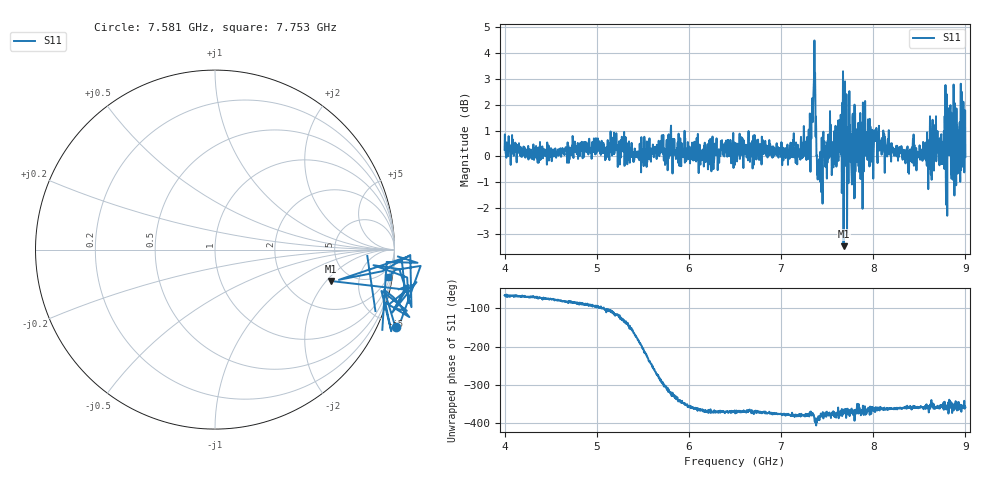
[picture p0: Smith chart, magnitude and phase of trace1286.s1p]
! Created with skrf 1.8.0 (http://scikit-rf.org).
# Hz S RI R 50.0
!freq ReS11 ImS11
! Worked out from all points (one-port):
!   1601 points, 4 GHz to 9 GHz, reference 50 ohm
!   lowest |S11| = -3.5 dB at 7.678 GHz (marker M1), VSWR 5.06, Z = 177 - j113 ohm
!   |S11| at or under -10 dB: nowhere
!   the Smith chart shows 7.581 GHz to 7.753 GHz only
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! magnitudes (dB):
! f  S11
! 4 GHz  0.3
! 4.625 GHz  0.2
! 5.25 GHz  -0.3
! 5.875 GHz  0.3
! 6.5 GHz  -0.3
! 7.125 GHz  0.1
! 7.294 GHz  0.2
! 7.356 GHz  3.1
! 7.375 GHz  0.8
! 7.409 GHz  -0.9
! 7.522 GHz  0.5
! 7.575 GHz  1.0
! 7.65 GHz  1.3
! 7.659 GHz  -1.4
! 7.678 GHz  -3.5
! 7.75 GHz  0.1
! 7.775 GHz  1.5
! 7.834 GHz  0.5
! 7.875 GHz  -0.6
! 8.038 GHz  0.6
! 8.375 GHz  0.0
! 8.584 GHz  0.9
! 8.688 GHz  0.2
! 8.766 GHz  1.0
! 8.831 GHz  0.1
! 8.875 GHz  0.9
! 8.972 GHz  0.4
! 9 GHz  0.0
